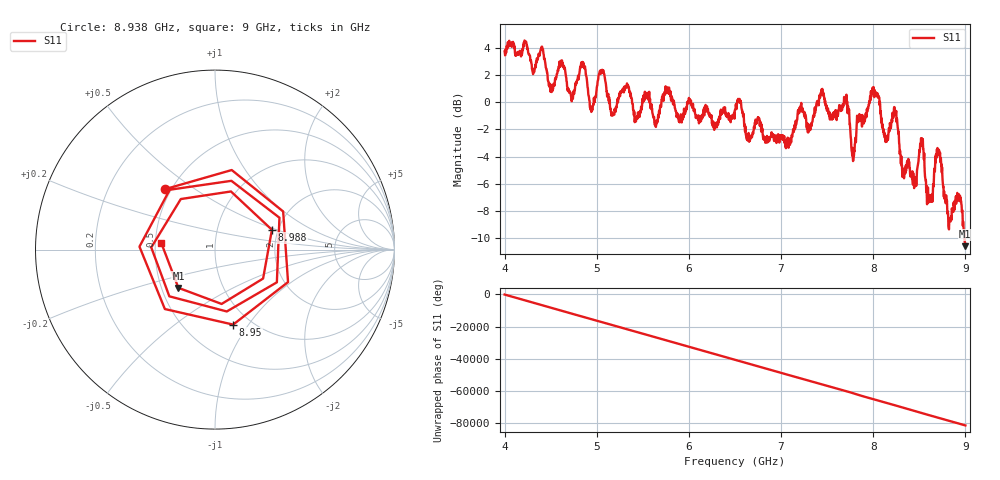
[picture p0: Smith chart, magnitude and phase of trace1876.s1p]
! Created with skrf 1.8.0 (http://scikit-rf.org).
# Hz S RI R 50.0
!freq ReS11 ImS11
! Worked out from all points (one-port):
!   1601 points, 4 GHz to 9 GHz, reference 50 ohm
!   lowest |S11| = -10.6 dB at 8.997 GHz (marker M1), VSWR 1.84, Z = 30.5 - j14.3 ohm
!   |S11| at or under -10 dB: 8.990534 GHz to end of sweep
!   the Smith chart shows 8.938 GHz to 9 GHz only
!   S11 on the Smith chart (normalised r, x): 8.938 GHz: 0.46, +0.38; 8.95 GHz: 0.83, -0.85; 8.988 GHz: 1.85, +0.46; 9 GHz: 0.54, +0.04
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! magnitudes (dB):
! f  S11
! 4 GHz  3.7
! 4.403 GHz  4.1
! 4.503 GHz  0.8
! 4.625 GHz  3.0
! 4.731 GHz  0.2
! 4.853 GHz  2.9
! 4.941 GHz  -0.7
! 5.047 GHz  2.2
! 5.169 GHz  -1.0
! 5.25 GHz  0.5
! 5.875 GHz  -0.8
! 6.5 GHz  -0.6
! 7.125 GHz  -2.3
! 7.441 GHz  1.0
! 7.75 GHz  -2.0
! 7.788 GHz  -4.0
! 8.016 GHz  0.9
! 8.375 GHz  -4.5
! 8.453 GHz  -5.5
! 8.528 GHz  -2.6
! 8.622 GHz  -7.3
! 8.706 GHz  -3.6
! 8.825 GHz  -8.7
! 8.938 GHz  -7.2
! 8.95 GHz  -7.3
! 8.988 GHz  -9.5
! 8.997 GHz  -10.6
! 9 GHz  -10.4
